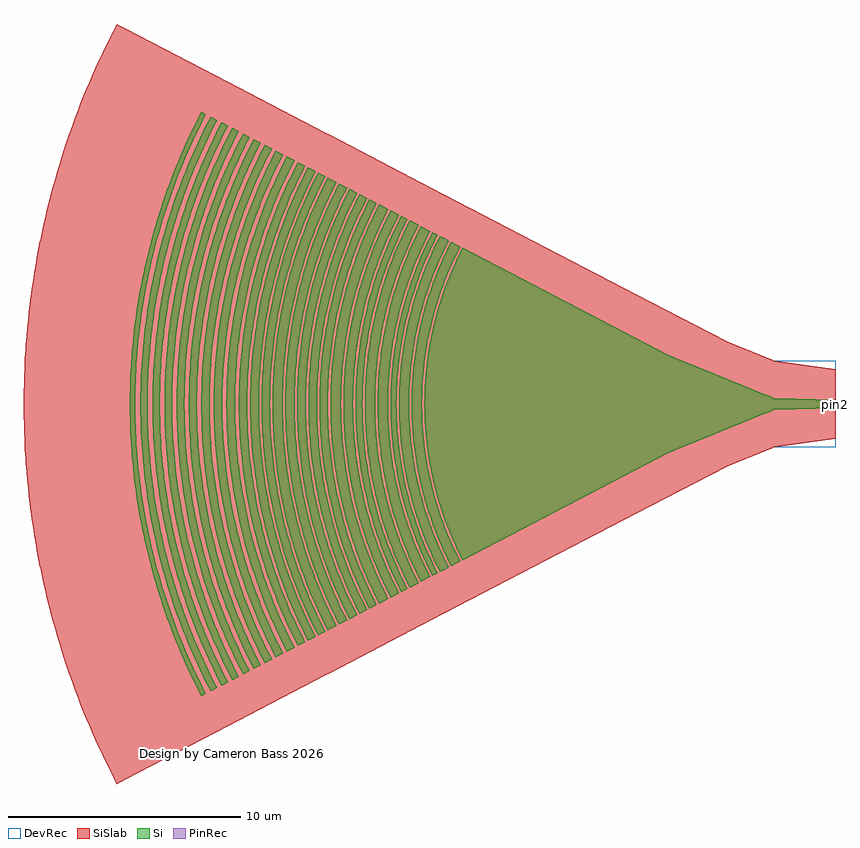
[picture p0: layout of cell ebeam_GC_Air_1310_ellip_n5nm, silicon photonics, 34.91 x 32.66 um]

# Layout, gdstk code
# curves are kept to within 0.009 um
import gdstk
lib = gdstk.Library(unit=1e-6, precision=1e-09)
def P(c, l, *ps):  # polygons
    for p in ps: c.add(gdstk.Polygon(p, *l))
Si = (1, 0)
PinRec = (1, 10)
SiSlab = (2, 0)
DevRec = (68, 0)

ebeam_gc_air_1310_ellip_ = lib.new_cell('ebeam_GC_Air_1310_ellip_n5nm')
P(ebeam_gc_air_1310_ellip_, Si, [(-16.046,-6.71),(-16.462,-5.838),(-16.779,-5.051),(-17.09,-4.113),(-17.273,-3.43),(-17.449,-2.6),(-17.576,-1.762),(-17.654,-0.918),(-17.682,-0.071),(-17.654,0.918),(-17.576,1.762),(-17.449,2.601),(-17.273,3.43),(-17.09,4.113),(-16.779,5.051),(-16.462,5.838),(-16.046,6.71),(-7.14,2.072),(-3.187,0.459),(-2.879,0.345),(-2.694,0.257),(-2.65,0.245),(0,0.175),(0,-0.175),(-2.679,-0.252),(-2.848,-0.332),(-3.202,-0.465),(-7.125,-2.065)],
  [(-16.538,-6.965),(-16.908,-6.197),(-17.245,-5.383),(-17.534,-4.551),(-17.774,-3.705),(-17.965,-2.845),(-18.105,-1.975),(-18.204,-0.954),(-18.234,-0.073),(-18.213,0.807),(-18.123,1.83),(-17.992,2.701),(-17.809,3.562),(-17.7,3.989),(-17.534,4.551),(-17.245,5.383),(-16.908,6.197),(-16.538,6.966),(-16.143,6.76),(-16.506,6.012),(-16.833,5.223),(-17.113,4.417),(-17.346,3.594),(-17.557,2.621),(-17.685,1.776),(-17.772,0.783),(-17.792,0.071),(-17.772,-0.783),(-17.685,-1.776),(-17.557,-2.62),(-17.38,-3.456),(-17.155,-4.28),(-16.883,-5.09),(-16.506,-6.012),(-16.143,-6.76)],
  [(-17.019,-7.216),(-17.402,-6.421),(-17.751,-5.578),(-18.05,-4.716),(-18.299,-3.839),(-18.496,-2.948),(-18.641,-2.047),(-18.734,-1.14),(-18.761,-0.684),(-18.775,-0.076),(-18.753,0.836),(-18.678,1.745),(-18.621,2.198),(-18.524,2.798),(-18.335,3.691),(-18.181,4.28),(-18.05,4.717),(-17.751,5.578),(-17.402,6.421),(-17.019,7.216),(-16.634,7.016),(-16.886,6.511),(-17.069,6.107),(-17.4,5.285),(-17.683,4.443),(-17.917,3.588),(-18.1,2.721),(-18.233,1.844),(-18.314,0.96),(-18.344,0.074),(-18.323,-0.812),(-18.233,-1.844),(-18.1,-2.721),(-17.917,-3.588),(-17.683,-4.443),(-17.4,-5.285),(-17.069,-6.107),(-16.886,-6.511),(-16.634,-7.016)],
  [(-17.339,-7.383),(-17.731,-6.569),(-18.088,-5.707),(-18.394,-4.825),(-18.649,-3.928),(-18.851,-3.016),(-18.932,-2.556),(-19.019,-1.94),(-19.105,-1.011),(-19.136,-0.078),(-19.114,0.856),(-19.019,1.94),(-18.879,2.863),(-18.686,3.777),(-18.44,4.677),(-18.143,5.561),(-17.975,5.997),(-17.731,6.57),(-17.339,7.383),(-17.116,7.266),(-17.565,6.326),(-17.799,5.761),(-17.96,5.331),(-18.109,4.896),(-18.287,4.309),(-18.406,3.866),(-18.544,3.269),(-18.708,2.365),(-18.804,1.606),(-18.863,0.842),(-18.885,0.077),(-18.863,-0.842),(-18.804,-1.606),(-18.708,-2.365),(-18.544,-3.269),(-18.406,-3.865),(-18.287,-4.309),(-18.109,-4.896),(-17.96,-5.33),(-17.565,-6.326),(-17.116,-7.266)],
  [(-17.835,-7.641),(-18.037,-7.237),(-18.305,-6.652),(-18.666,-5.756),(-18.974,-4.841),(-19.228,-3.909),(-19.428,-2.963),(-19.572,-2.008),(-19.661,-1.046),(-19.694,-0.08),(-19.67,0.886),(-19.591,1.848),(-19.456,2.805),(-19.335,3.438),(-19.228,3.909),(-18.974,4.841),(-18.666,5.756),(-18.492,6.207),(-18.24,6.8),(-17.835,7.641),(-17.436,7.433),(-17.832,6.615),(-18.191,5.747),(-18.5,4.858),(-18.756,3.955),(-18.988,2.883),(-19.128,1.954),(-19.192,1.33),(-19.224,0.861),(-19.246,0.078),(-19.224,-0.861),(-19.192,-1.33),(-19.128,-1.954),(-18.988,-2.883),(-18.793,-3.802),(-18.546,-4.709),(-18.246,-5.6),(-17.896,-6.472),(-17.634,-7.041),(-17.436,-7.433)],
  [(-18.315,-7.891),(-18.524,-7.474),(-18.801,-6.869),(-19.173,-5.944),(-19.492,-4.999),(-19.754,-4.036),(-19.96,-3.06),(-20.11,-2.073),(-20.201,-1.081),(-20.235,-0.083),(-20.211,0.915),(-20.129,1.908),(-19.989,2.896),(-19.793,3.875),(-19.63,4.52),(-19.492,4.999),(-19.173,5.944),(-18.801,6.87),(-18.595,7.324),(-18.315,7.891),(-17.933,7.692),(-18.343,6.845),(-18.535,6.399),(-18.771,5.795),(-19.081,4.873),(-19.337,3.935),(-19.538,2.983),(-19.683,2.022),(-19.773,1.053),(-19.806,0.081),(-19.782,-0.891),(-19.702,-1.861),(-19.566,-2.824),(-19.477,-3.302),(-19.337,-3.934),(-19.081,-4.872),(-18.771,-5.795),(-18.535,-6.398),(-18.343,-6.845),(-17.933,-7.692)],
  [(-18.677,-8.079),(-19.106,-7.188),(-19.497,-6.244),(-19.671,-5.764),(-19.882,-5.118),(-20.151,-4.132),(-20.362,-3.133),(-20.515,-2.122),(-20.609,-1.106),(-20.643,-0.085),(-20.619,0.936),(-20.535,1.954),(-20.392,2.965),(-20.264,3.634),(-20.151,4.132),(-20.024,4.627),(-19.832,5.28),(-19.497,6.244),(-19.106,7.188),(-18.677,8.079),(-18.412,7.942),(-18.696,7.371),(-18.903,6.914),(-19.159,6.296),(-19.335,5.826),(-19.498,5.351),(-19.692,4.71),(-19.822,4.225),(-19.973,3.573),(-20.152,2.585),(-20.257,1.755),(-20.322,0.92),(-20.346,0.084),(-20.322,-0.92),(-20.257,-1.755),(-20.152,-2.585),(-20.007,-3.409),(-19.901,-3.899),(-19.737,-4.548),(-19.549,-5.19),(-19.391,-5.668),(-19.159,-6.295),(-18.97,-6.76),(-18.696,-7.371),(-18.412,-7.941)],
  [(-19.135,-8.318),(-19.577,-7.401),(-19.852,-6.755),(-20.041,-6.265),(-20.376,-5.269),(-20.653,-4.254),(-20.87,-3.225),(-21.028,-2.185),(-21.124,-1.139),(-21.16,-0.088),(-21.15,0.614),(-21.124,1.139),(-21.028,2.185),(-20.87,3.225),(-20.653,4.254),(-20.376,5.269),(-20.041,6.265),(-19.648,7.241),(-19.356,7.878),(-19.135,8.318),(-18.775,8.13),(-19.209,7.234),(-19.477,6.603),(-19.661,6.124),(-19.989,5.149),(-20.26,4.158),(-20.472,3.153),(-20.626,2.137),(-20.72,1.113),(-20.755,0.086),(-20.73,-0.942),(-20.646,-1.967),(-20.502,-2.984),(-20.408,-3.489),(-20.26,-4.158),(-19.989,-5.149),(-19.661,-6.124),(-19.278,-7.077),(-19.066,-7.545),(-18.775,-8.13)],
  [(-19.634,-8.578),(-20.088,-7.634),(-20.503,-6.632),(-20.858,-5.607),(-21.154,-4.564),(-21.388,-3.505),(-21.561,-2.434),(-21.671,-1.355),(-21.702,-0.814),(-21.72,-0.09),(-21.694,0.994),(-21.604,2.075),(-21.453,3.149),(-21.317,3.859),(-21.197,4.389),(-20.912,5.435),(-20.688,6.122),(-20.503,6.632),(-20.088,7.634),(-19.634,8.578),(-19.233,8.369),(-19.679,7.446),(-20.084,6.469),(-20.377,5.638),(-20.582,4.962),(-20.719,4.451),(-20.947,3.419),(-21.116,2.375),(-21.177,1.849),(-21.235,1.145),(-21.271,0.088),(-21.266,-0.441),(-21.235,-1.145),(-21.138,-2.199),(-20.98,-3.245),(-20.761,-4.28),(-20.483,-5.3),(-20.321,-5.805),(-20.084,-6.469),(-19.679,-7.446),(-19.233,-8.369)],
  [(-20.049,-8.794),(-20.516,-7.824),(-20.941,-6.797),(-21.306,-5.746),(-21.609,-4.677),(-21.849,-3.592),(-22.026,-2.494),(-22.139,-1.389),(-22.171,-0.834),(-22.189,-0.093),(-22.162,1.019),(-22.071,2.126),(-22.001,2.678),(-21.883,3.41),(-21.653,4.498),(-21.36,5.57),(-21.006,6.623),(-20.591,7.655),(-20.361,8.161),(-20.049,8.794),(-19.735,8.63),(-20.042,8.01),(-20.268,7.514),(-20.479,7.011),(-20.737,6.331),(-20.969,5.641),(-21.174,4.943),(-21.351,4.238),(-21.467,3.704),(-21.624,2.809),(-21.738,1.907),(-21.809,1),(-21.835,0.091),(-21.825,-0.636),(-21.756,-1.725),(-21.651,-2.629),(-21.467,-3.704),(-21.351,-4.237),(-21.174,-4.943),(-20.969,-5.64),(-20.737,-6.331),(-20.479,-7.01),(-20.268,-7.513),(-19.964,-8.174),(-19.735,-8.63)],
  [(-20.469,-9.013),(-20.949,-8.017),(-21.385,-6.964),(-21.758,-5.888),(-22.069,-4.793),(-22.2,-4.238),(-22.35,-3.494),(-22.52,-2.367),(-22.625,-1.234),(-22.664,-0.095),(-22.636,1.044),(-22.542,2.179),(-22.383,3.307),(-22.279,3.867),(-22.114,4.609),(-21.814,5.708),(-21.641,6.249),(-21.385,6.964),(-20.949,8.017),(-20.469,9.013),(-20.147,8.845),(-20.463,8.208),(-20.768,7.528),(-21.046,6.837),(-21.237,6.311),(-21.412,5.781),(-21.622,5.065),(-21.805,4.342),(-21.923,3.796),(-22.084,2.878),(-22.201,1.954),(-22.273,1.024),(-22.3,0.093),(-22.282,-0.838),(-22.201,-1.954),(-22.084,-2.878),(-21.923,-3.796),(-21.805,-4.342),(-21.622,-5.065),(-21.467,-5.602),(-21.237,-6.311),(-20.979,-7.01),(-20.768,-7.528),(-20.463,-8.208),(-20.147,-8.845)],
  [(-20.904,-9.239),(-21.397,-8.215),(-21.843,-7.137),(-22.226,-6.034),(-22.545,-4.912),(-22.679,-4.343),(-22.833,-3.58),(-23.008,-2.426),(-23.115,-1.264),(-23.154,-0.097),(-23.149,0.487),(-23.115,1.264),(-23.008,2.426),(-22.833,3.581),(-22.591,4.723),(-22.284,5.849),(-21.912,6.955),(-21.476,8.038),(-21.234,8.569),(-20.904,9.239),(-20.571,9.065),(-20.897,8.409),(-21.209,7.712),(-21.494,7.004),(-21.69,6.466),(-21.87,5.922),(-22.085,5.189),(-22.228,4.634),(-22.393,3.889),(-22.558,2.949),(-22.678,2.002),(-22.752,1.05),(-22.78,0.096),(-22.761,-0.859),(-22.697,-1.811),(-22.586,-2.76),(-22.393,-3.889),(-22.228,-4.634),(-22.085,-5.189),(-21.87,-5.922),(-21.69,-6.466),(-21.494,-7.004),(-21.209,-7.712),(-20.897,-8.409),(-20.571,-9.065)],
  [(-21.355,-9.474),(-21.609,-8.968),(-21.941,-8.242),(-22.173,-7.69),(-22.388,-7.132),(-22.77,-5.998),(-23.085,-4.843),(-23.333,-3.672),(-23.512,-2.488),(-23.622,-1.296),(-23.662,-0.1),(-23.657,0.499),(-23.622,1.297),(-23.512,2.488),(-23.333,3.672),(-23.085,4.843),(-22.77,5.998),(-22.388,7.132),(-22.173,7.691),(-21.941,8.243),(-21.609,8.968),(-21.355,9.474),(-21.001,9.289),(-21.251,8.793),(-21.578,8.082),(-21.805,7.541),(-22.083,6.81),(-22.273,6.255),(-22.501,5.505),(-22.699,4.748),(-22.869,3.985),(-23.038,3.022),(-23.161,2.051),(-23.237,1.075),(-23.265,0.098),(-23.246,-0.88),(-23.18,-1.856),(-23.067,-2.828),(-22.869,-3.984),(-22.699,-4.748),(-22.501,-5.505),(-22.333,-6.067),(-22.083,-6.81),(-21.805,-7.541),(-21.578,-8.082),(-21.251,-8.792),(-21.001,-9.289)],
  [(-21.843,-9.727),(-22.102,-9.21),(-22.443,-8.465),(-22.681,-7.898),(-22.902,-7.324),(-23.107,-6.745),(-23.294,-6.16),(-23.465,-5.569),(-23.618,-4.974),(-23.754,-4.374),(-23.872,-3.771),(-23.973,-3.164),(-24.056,-2.555),(-24.169,-1.331),(-24.199,-0.717),(-24.21,-0.102),(-24.181,1.127),(-24.08,2.352),(-23.973,3.164),(-23.872,3.771),(-23.754,4.374),(-23.618,4.974),(-23.465,5.57),(-23.294,6.16),(-23.107,6.745),(-22.902,7.325),(-22.681,7.898),(-22.443,8.465),(-22.102,9.21),(-21.843,9.728),(-21.452,9.524),(-21.962,8.47),(-22.422,7.359),(-22.817,6.222),(-23.145,5.064),(-23.284,4.478),(-23.405,3.889),(-23.597,2.701),(-23.719,1.503),(-23.754,0.902),(-23.773,0.1),(-23.744,-1.103),(-23.686,-1.903),(-23.622,-2.502),(-23.442,-3.692),(-23.193,-4.869),(-22.876,-6.03),(-22.493,-7.171),(-22.043,-8.287),(-21.795,-8.835),(-21.452,-9.524)],
  [(-22.257,-9.943),(-22.522,-9.413),(-22.786,-8.843),(-23.035,-8.266),(-23.267,-7.682),(-23.481,-7.092),(-23.741,-6.296),(-24.072,-5.084),(-24.331,-3.854),(-24.434,-3.234),(-24.519,-2.611),(-24.586,-1.987),(-24.635,-1.361),(-24.677,-0.105),(-24.671,0.524),(-24.647,1.152),(-24.544,2.403),(-24.465,3.027),(-24.368,3.648),(-24.253,4.266),(-24.072,5.084),(-23.741,6.296),(-23.549,6.894),(-23.267,7.682),(-23.035,8.267),(-22.786,8.844),(-22.257,9.943),(-21.94,9.778),(-22.29,9.072),(-22.545,8.51),(-22.86,7.749),(-23.077,7.17),(-23.277,6.586),(-23.516,5.797),(-23.676,5.2),(-23.862,4.397),(-23.981,3.791),(-24.082,3.181),(-24.211,2.16),(-24.291,1.132),(-24.321,0.103),(-24.315,-0.515),(-24.291,-1.132),(-24.211,-2.159),(-24.082,-3.181),(-23.981,-3.791),(-23.862,-4.397),(-23.676,-5.2),(-23.516,-5.796),(-23.277,-6.585),(-23.077,-7.17),(-22.784,-7.94),(-22.545,-8.509),(-22.29,-9.072),(-21.94,-9.778)],
  [(-22.691,-10.169),(-22.964,-9.625),(-23.234,-9.042),(-23.489,-8.452),(-23.726,-7.855),(-23.945,-7.251),(-24.21,-6.438),(-24.389,-5.82),(-24.549,-5.198),(-24.691,-4.571),(-24.814,-3.941),(-24.92,-3.307),(-25.007,-2.67),(-25.075,-2.032),(-25.125,-1.391),(-25.156,-0.75),(-25.168,-0.107),(-25.162,0.536),(-25.137,1.178),(-25.094,1.819),(-25.032,2.457),(-24.951,3.095),(-24.852,3.73),(-24.691,4.571),(-24.549,5.198),(-24.389,5.82),(-24.21,6.438),(-23.801,7.655),(-23.57,8.254),(-23.321,8.847),(-22.964,9.625),(-22.691,10.169),(-22.357,9.995),(-22.716,9.272),(-22.977,8.697),(-23.299,7.919),(-23.52,7.328),(-23.789,6.53),(-23.969,5.924),(-24.133,5.314),(-24.323,4.494),(-24.515,3.46),(-24.658,2.417),(-24.749,1.367),(-24.78,0.737),(-24.792,0.105),(-24.772,-0.947),(-24.735,-1.577),(-24.68,-2.206),(-24.548,-3.251),(-24.323,-4.494),(-24.133,-5.314),(-23.969,-5.924),(-23.789,-6.53),(-23.52,-7.328),(-23.299,-7.919),(-22.977,-8.697),(-22.716,-9.272),(-22.357,-9.995)],
  [(-23.123,-10.394),(-23.405,-9.832),(-23.681,-9.237),(-23.941,-8.634),(-24.184,-8.024),(-24.408,-7.407),(-24.615,-6.784),(-24.803,-6.156),(-24.973,-5.522),(-25.124,-4.884),(-25.257,-4.241),(-25.371,-3.594),(-25.466,-2.945),(-25.542,-2.293),(-25.614,-1.421),(-25.646,-0.766),(-25.658,-0.109),(-25.652,0.547),(-25.627,1.203),(-25.582,1.858),(-25.519,2.51),(-25.436,3.162),(-25.297,4.026),(-25.17,4.67),(-25.025,5.31),(-24.861,5.946),(-24.679,6.576),(-24.479,7.201),(-24.261,7.82),(-24.024,8.432),(-23.77,9.037),(-23.499,9.635),(-23.123,10.394),(-22.805,10.229),(-23.174,9.484),(-23.527,8.699),(-23.771,8.101),(-23.997,7.496),(-24.272,6.68),(-24.457,6.06),(-24.676,5.227),(-24.819,4.597),(-25.016,3.539),(-25.109,2.9),(-25.184,2.258),(-25.267,1.184),(-25.299,0.108),(-25.278,-0.969),(-25.184,-2.257),(-25.109,-2.899),(-25.016,-3.539),(-24.819,-4.597),(-24.676,-5.227),(-24.457,-6.06),(-24.272,-6.68),(-23.997,-7.496),(-23.771,-8.101),(-23.441,-8.896),(-23.174,-9.484),(-22.805,-10.228)],
  [(-23.592,-10.639),(-23.884,-10.057),(-24.167,-9.449),(-24.433,-8.832),(-24.681,-8.208),(-24.911,-7.577),(-25.122,-6.94),(-25.315,-6.297),(-25.489,-5.649),(-25.644,-4.995),(-25.779,-4.338),(-25.931,-3.455),(-26.022,-2.79),(-26.093,-2.123),(-26.145,-1.454),(-26.178,-0.783),(-26.191,-0.112),(-26.184,0.56),(-26.158,1.231),(-26.113,1.901),(-26.048,2.568),(-25.963,3.234),(-25.859,3.898),(-25.691,4.777),(-25.542,5.432),(-25.375,6.082),(-25.188,6.727),(-24.983,7.366),(-24.76,7.999),(-24.518,8.625),(-24.258,9.244),(-23.98,9.856),(-23.592,10.639),(-23.263,10.467),(-23.549,9.899),(-23.917,9.099),(-24.173,8.49),(-24.486,7.667),(-24.7,7.042),(-24.957,6.198),(-25.181,5.346),(-25.327,4.702),(-25.529,3.619),(-25.678,2.528),(-25.741,1.87),(-25.786,1.211),(-25.818,0.11),(-25.797,-0.991),(-25.759,-1.65),(-25.701,-2.308),(-25.563,-3.402),(-25.454,-4.053),(-25.327,-4.702),(-25.181,-5.346),(-24.957,-6.198),(-24.7,-7.041),(-24.486,-7.666),(-24.173,-8.49),(-23.917,-9.099),(-23.549,-9.899),(-23.263,-10.467)],
  [(-24.075,-10.89),(-24.377,-10.289),(-24.666,-9.666),(-24.939,-9.035),(-25.193,-8.397),(-25.428,-7.752),(-25.712,-6.882),(-25.903,-6.222),(-26.074,-5.557),(-26.226,-4.887),(-26.359,-4.213),(-26.472,-3.535),(-26.565,-2.854),(-26.638,-2.172),(-26.691,-1.487),(-26.725,-0.801),(-26.738,-0.114),(-26.731,0.573),(-26.705,1.259),(-26.658,1.944),(-26.565,2.855),(-26.472,3.535),(-26.359,4.213),(-26.226,4.887),(-26.074,5.557),(-25.903,6.222),(-25.712,6.882),(-25.428,7.752),(-25.193,8.397),(-24.939,9.036),(-24.666,9.666),(-24.376,10.289),(-24.075,10.89),(-23.751,10.721),(-24.144,9.93),(-24.424,9.314),(-24.77,8.481),(-25.007,7.848),(-25.295,6.993),(-25.489,6.344),(-25.719,5.472),(-25.868,4.813),(-26.075,3.705),(-26.228,2.588),(-26.326,1.464),(-26.359,0.789),(-26.372,0.113),(-26.35,-1.014),(-26.31,-1.689),(-26.252,-2.363),(-26.11,-3.482),(-25.999,-4.149),(-25.868,-4.813),(-25.719,-5.472),(-25.489,-6.344),(-25.226,-7.208),(-25.007,-7.848),(-24.77,-8.481),(-24.424,-9.314),(-24.047,-10.133),(-23.751,-10.721)],
  [(-24.545,-11.135),(-24.856,-10.517),(-25.152,-9.88),(-25.431,-9.235),(-25.69,-8.583),(-25.931,-7.923),(-26.152,-7.257),(-26.416,-6.36),(-26.592,-5.68),(-26.747,-4.995),(-26.883,-4.306),(-26.998,-3.613),(-27.093,-2.918),(-27.168,-2.22),(-27.223,-1.52),(-27.257,-0.819),(-27.27,-0.117),(-27.257,0.819),(-27.223,1.521),(-27.168,2.221),(-27.093,2.918),(-26.998,3.613),(-26.883,4.306),(-26.747,4.995),(-26.592,5.68),(-26.416,6.36),(-26.152,7.257),(-25.931,7.923),(-25.69,8.583),(-25.431,9.236),(-25.152,9.88),(-24.855,10.517),(-24.545,11.135),(-24.232,10.972),(-24.638,10.157),(-24.925,9.527),(-25.193,8.889),(-25.521,8.027),(-25.816,7.153),(-26.014,6.49),(-26.194,5.821),(-26.402,4.923),(-26.614,3.79),(-26.77,2.647),(-26.871,1.498),(-26.904,0.807),(-26.917,0.115),(-26.911,-0.576),(-26.884,-1.268),(-26.794,-2.417),(-26.714,-3.105),(-26.614,-3.79),(-26.402,-4.923),(-26.194,-5.821),(-26.014,-6.489),(-25.816,-7.153),(-25.521,-8.027),(-25.193,-8.889),(-24.925,-9.527),(-24.638,-10.157),(-24.232,-10.972)],
  [(-25.018,-11.381),(-25.337,-10.747),(-25.64,-10.097),(-25.924,-9.438),(-26.19,-8.771),(-26.435,-8.097),(-26.661,-7.416),(-26.868,-6.729),(-27.054,-6.036),(-27.219,-5.338),(-27.365,-4.635),(-27.489,-3.929),(-27.594,-3.219),(-27.677,-2.506),(-27.74,-1.792),(-27.791,-0.837),(-27.805,-0.12),(-27.798,0.598),(-27.77,1.315),(-27.721,2.031),(-27.652,2.744),(-27.561,3.456),(-27.409,4.4),(-27.27,5.105),(-27.111,5.804),(-26.932,6.499),(-26.732,7.189),(-26.513,7.871),(-26.19,8.771),(-25.924,9.438),(-25.64,10.097),(-25.337,10.747),(-25.018,11.381),(-24.712,11.222),(-25.129,10.385),(-25.422,9.741),(-25.696,9.089),(-26.032,8.208),(-26.261,7.539),(-26.536,6.636),(-26.72,5.952),(-26.933,5.034),(-27.149,3.875),(-27.309,2.707),(-27.378,2.002),(-27.426,1.296),(-27.46,0.118),(-27.453,-0.589),(-27.426,-1.296),(-27.334,-2.471),(-27.186,-3.642),(-27.07,-4.34),(-26.933,-5.034),(-26.72,-5.952),(-26.536,-6.635),(-26.261,-7.539),(-26.032,-8.208),(-25.696,-9.089),(-25.422,-9.741),(-25.027,-10.598),(-24.712,-11.221)],
  [(-25.48,-11.621),(-25.806,-10.973),(-26.115,-10.309),(-26.405,-9.636),(-26.676,-8.955),(-26.927,-8.267),(-27.158,-7.572),(-27.369,-6.871),(-27.559,-6.163),(-27.78,-5.212),(-27.921,-4.493),(-28.042,-3.77),(-28.141,-3.044),(-28.219,-2.317),(-28.276,-1.586),(-28.311,-0.855),(-28.326,-0.122),(-28.311,0.855),(-28.276,1.586),(-28.219,2.317),(-28.141,3.044),(-28.042,3.77),(-27.921,4.493),(-27.78,5.212),(-27.617,5.926),(-27.434,6.636),(-27.231,7.339),(-27.007,8.036),(-26.762,8.727),(-26.498,9.41),(-26.214,10.086),(-25.806,10.973),(-25.48,11.621),(-25.186,11.468),(-25.613,10.612),(-25.912,9.954),(-26.282,9.064),(-26.536,8.387),(-26.844,7.474),(-27.051,6.781),(-27.239,6.082),(-27.406,5.379),(-27.552,4.671),(-27.678,3.96),(-27.841,2.766),(-27.911,2.046),(-27.96,1.325),(-27.995,0.121),(-27.972,-1.084),(-27.93,-1.805),(-27.867,-2.526),(-27.783,-3.244),(-27.678,-3.959),(-27.457,-5.143),(-27.239,-6.082),(-27.051,-6.78),(-26.844,-7.474),(-26.536,-8.387),(-26.282,-9.064),(-25.912,-9.954),(-25.613,-10.612),(-25.186,-11.468)],
  [(-25.945,-11.863),(-26.278,-11.201),(-26.594,-10.523),(-26.89,-9.837),(-27.167,-9.142),(-27.423,-8.439),(-27.659,-7.729),(-27.874,-7.014),(-28.068,-6.291),(-28.293,-5.32),(-28.438,-4.586),(-28.56,-3.848),(-28.662,-3.107),(-28.742,-2.364),(-28.8,-1.619),(-28.836,-0.872),(-28.85,-0.125),(-28.836,0.872),(-28.8,1.619),(-28.742,2.364),(-28.662,3.108),(-28.56,3.849),(-28.438,4.586),(-28.293,5.32),(-28.127,6.049),(-27.941,6.774),(-27.733,7.492),(-27.504,8.203),(-27.255,8.908),(-26.985,9.606),(-26.594,10.523),(-26.277,11.201),(-25.945,11.864),(-25.656,11.713),(-26.092,10.838),(-26.398,10.166),(-26.684,9.485),(-27.035,8.565),(-27.274,7.867),(-27.562,6.925),(-27.753,6.212),(-27.976,5.253),(-28.201,4.044),(-28.368,2.825),(-28.44,2.089),(-28.49,1.353),(-28.526,0.123),(-28.518,-0.615),(-28.49,-1.353),(-28.394,-2.579),(-28.239,-3.8),(-28.118,-4.528),(-27.976,-5.253),(-27.812,-5.973),(-27.562,-6.924),(-27.274,-7.867),(-27.035,-8.565),(-26.684,-9.485),(-26.398,-10.165),(-26.092,-10.837),(-25.656,-11.713)],
  [(-26.404,-12.102),(-26.744,-11.426),(-27.066,-10.735),(-27.368,-10.034),(-27.65,-9.325),(-27.912,-8.608),(-28.152,-7.884),(-28.371,-7.154),(-28.569,-6.418),(-28.745,-5.675),(-28.9,-4.928),(-29.033,-4.177),(-29.143,-3.422),(-29.232,-2.664),(-29.299,-1.905),(-29.353,-0.89),(-29.368,-0.127),(-29.36,0.636),(-29.331,1.398),(-29.279,2.159),(-29.205,2.918),(-29.109,3.674),(-28.947,4.678),(-28.799,5.427),(-28.63,6.171),(-28.44,6.91),(-28.228,7.643),(-27.994,8.368),(-27.74,9.087),(-27.465,9.799),(-27.066,10.735),(-26.743,11.426),(-26.404,12.102),(-26.125,11.957),(-26.461,11.29),(-26.781,10.607),(-27.08,9.915),(-27.447,8.98),(-27.777,8.031),(-28.001,7.31),(-28.266,6.341),(-28.44,5.608),(-28.593,4.87),(-28.724,4.128),(-28.894,2.884),(-29.004,1.632),(-29.04,0.879),(-29.055,0.126),(-29.047,-0.628),(-29.018,-1.381),(-28.921,-2.634),(-28.833,-3.382),(-28.724,-4.128),(-28.593,-4.87),(-28.44,-5.608),(-28.266,-6.341),(-28.001,-7.31),(-27.698,-8.269),(-27.447,-8.979),(-27.08,-9.915),(-26.781,-10.607),(-26.462,-11.289),(-26.125,-11.957)],
  [(-26.874,-12.347),(-27.325,-11.437),(-27.647,-10.728),(-27.949,-10.009),(-28.23,-9.282),(-28.489,-8.548),(-28.727,-7.807),(-28.943,-7.058),(-29.138,-6.303),(-29.31,-5.543),(-29.46,-4.779),(-29.588,-4.01),(-29.694,-3.238),(-29.776,-2.464),(-29.837,-1.687),(-29.875,-0.909),(-29.89,-0.13),(-29.875,0.909),(-29.837,1.687),(-29.776,2.464),(-29.694,3.238),(-29.588,4.01),(-29.46,4.779),(-29.31,5.544),(-29.138,6.303),(-28.943,7.058),(-28.727,7.807),(-28.489,8.548),(-28.23,9.283),(-27.949,10.009),(-27.647,10.728),(-27.325,11.437),(-26.874,12.348),(-26.592,12.201),(-27.047,11.288),(-27.366,10.588),(-27.759,9.641),(-28.029,8.921),(-28.278,8.194),(-28.506,7.458),(-28.713,6.718),(-28.954,5.722),(-29.202,4.464),(-29.321,3.705),(-29.418,2.942),(-29.492,2.176),(-29.544,1.409),(-29.582,0.128),(-29.557,-1.153),(-29.512,-1.92),(-29.445,-2.686),(-29.284,-3.958),(-29.157,-4.717),(-29.009,-5.471),(-28.777,-6.469),(-28.577,-7.212),(-28.357,-7.95),(-28.029,-8.921),(-27.759,-9.641),(-27.366,-10.588),(-27.047,-11.288),(-26.592,-12.2)],
  [(-27.272,-12.555),(-27.625,-11.851),(-27.959,-11.134),(-28.272,-10.408),(-28.564,-9.672),(-28.821,-8.97),(-29.084,-8.178),(-29.311,-7.421),(-29.516,-6.657),(-29.698,-5.887),(-29.858,-5.112),(-29.996,-4.332),(-30.111,-3.55),(-30.228,-2.502),(-30.284,-1.794),(-30.328,-0.923),(-30.343,-0.132),(-30.335,0.659),(-30.305,1.45),(-30.251,2.24),(-30.144,3.288),(-30.037,4.072),(-29.907,4.853),(-29.754,5.629),(-29.579,6.401),(-29.382,7.167),(-29.162,7.927),(-28.921,8.68),(-28.657,9.426),(-28.372,10.164),(-27.959,11.135),(-27.625,11.852),(-27.272,12.555),(-27.071,12.45),(-27.413,11.768),(-27.746,11.057),(-28.156,10.093),(-28.439,9.36),(-28.701,8.62),(-28.941,7.871),(-29.227,6.863),(-29.415,6.101),(-29.68,4.819),(-29.809,4.044),(-29.915,3.266),(-29.999,2.484),(-30.06,1.701),(-30.098,0.916),(-30.113,0.131),(-30.105,-0.654),(-30.075,-1.439),(-30.022,-2.223),(-29.945,-3.006),(-29.768,-4.303),(-29.632,-5.076),(-29.473,-5.845),(-29.292,-6.61),(-29.089,-7.368),(-28.783,-8.371),(-28.529,-9.114),(-28.253,-9.85),(-27.852,-10.817),(-27.527,-11.532),(-27.071,-12.45)])
P(ebeam_gc_air_1310_ellip_, SiSlab, [(-30.904,-16.329),(-31.366,-15.41),(-31.801,-14.477),(-32.208,-13.533),(-32.588,-12.577),(-32.94,-11.61),(-33.264,-10.634),(-33.559,-9.648),(-33.825,-8.655),(-34.062,-7.654),(-34.27,-6.647),(-34.449,-5.634),(-34.598,-4.616),(-34.717,-3.594),(-34.807,-2.569),(-34.867,-1.543),(-34.9,-0.171),(-34.89,0.857),(-34.85,1.885),(-34.781,2.912),(-34.681,3.935),(-34.552,4.956),(-34.393,5.972),(-34.135,7.319),(-33.907,8.322),(-33.651,9.318),(-33.365,10.307),(-33.051,11.286),(-32.709,12.256),(-32.338,13.216),(-31.94,14.164),(-31.366,15.41),(-30.904,16.329),(-4.744,2.708),(-2.65,1.855),(0,1.5),(0,-1.5),(-2.65,-1.855),(-4.728,-2.7)])
P(ebeam_gc_air_1310_ellip_, DevRec, [(-30.904,-16.329),(-31.366,-15.41),(-31.801,-14.477),(-32.208,-13.533),(-32.588,-12.577),(-32.94,-11.61),(-33.264,-10.634),(-33.559,-9.648),(-33.825,-8.655),(-34.062,-7.654),(-34.27,-6.647),(-34.449,-5.634),(-34.598,-4.616),(-34.717,-3.594),(-34.807,-2.569),(-34.867,-1.543),(-34.9,-0.171),(-34.89,0.857),(-34.85,1.885),(-34.781,2.912),(-34.681,3.935),(-34.552,4.956),(-34.393,5.972),(-34.135,7.319),(-33.907,8.322),(-33.651,9.318),(-33.365,10.307),(-33.051,11.286),(-32.709,12.256),(-32.338,13.216),(-31.94,14.164),(-31.366,15.41),(-30.904,16.329),(-4.744,2.708),(-2.65,1.855),(0,1.855),(0,-1.855),(-2.65,-1.855),(-4.728,-2.7)])
ebeam_gc_air_1310_ellip_.add(gdstk.FlexPath([(-0.01,0),(0.01,0)], 0.35, ends="flush", simple_path=True, layer=1, datatype=10))  # PinRec
ebeam_gc_air_1310_ellip_.add(gdstk.Label('pin2', (0,0), layer=1, texttype=10))
ebeam_gc_air_1310_ellip_.add(gdstk.Label('Design by Cameron Bass 2026', (-25.94,-15.02), layer=10, texttype=0))

lib.write_gds('ebeam_GC_Air_1310_ellip_n5nm.gds')
